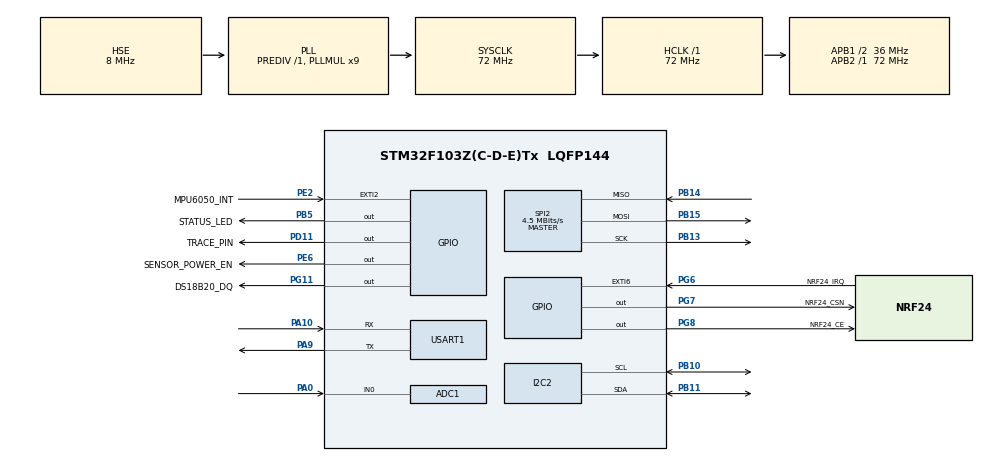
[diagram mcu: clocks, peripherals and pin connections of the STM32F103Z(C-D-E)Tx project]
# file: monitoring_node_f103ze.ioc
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ADC1.Channel-0\#ChannelRegularConversion=ADC_CHANNEL_0
ADC1.ExternalTrigConv=ADC_EXTERNALTRIGCONV_T3_TRGO
ADC1.NbrOfConversionFlag=1
ADC1.Rank-0\#ChannelRegularConversion=1
ADC1.SamplingTime-0\#ChannelRegularConversion=ADC_SAMPLETIME_28CYCLES_5
ADC1.master=1
Dma.ADC1.0.Direction=DMA_PERIPH_TO_MEMORY
Dma.ADC1.0.Instance=DMA1_Channel1
Dma.ADC1.0.MemDataAlignment=DMA_MDATAALIGN_HALFWORD
Dma.ADC1.0.MemInc=DMA_MINC_ENABLE
Dma.ADC1.0.Mode=DMA_CIRCULAR
Dma.ADC1.0.PeriphDataAlignment=DMA_PDATAALIGN_HALFWORD
Dma.ADC1.0.PeriphInc=DMA_PINC_DISABLE
Dma.ADC1.0.Priority=DMA_PRIORITY_HIGH
Dma.Request0=ADC1
FREERTOS.Tasks01=defaultTask,24,256,StartDefaultTask,Default,NULL,Dynamic,NULL,NULL
I2C2.I2C_Mode=I2C_Fast
Mcu.Family=STM32F1
Mcu.Name=STM32F103Z(C-D-E)Tx
Mcu.Package=LQFP144
NVIC.DMA1_Channel1_IRQn=true\:6\:0\:true\:false\:true\:true\:true\:true\:true
NVIC.EXTI2_IRQn=true\:6\:0\:true\:false\:true\:true\:true\:true\:true
NVIC.EXTI9_5_IRQn=true\:6\:0\:true\:false\:true\:true\:true\:true\:true
NVIC.I2C2_ER_IRQn=true\:6\:0\:true\:false\:true\:true\:true\:true\:true
NVIC.I2C2_EV_IRQn=true\:6\:0\:true\:false\:true\:true\:true\:true\:true
NVIC.PriorityGroup=NVIC_PRIORITYGROUP_4
NVIC.RTC_Alarm_IRQn=true\:15\:0\:true\:false\:true\:true\:true\:true\:true
NVIC.TIM4_IRQn=true\:15\:0\:false\:false\:true\:false\:false\:true\:true
NVIC.TimeBase=TIM4_IRQn
NVIC.TimeBaseIP=TIM4
OSC_IN.Mode=HSE-External-Oscillator
OSC_IN.Signal=RCC_OSC_IN
OSC_OUT.Mode=HSE-External-Oscillator
OSC_OUT.Signal=RCC_OSC_OUT
PA0-WKUP.Signal=ADCx_IN0
PA10.Mode=Asynchronous
PA10.Signal=USART1_RX
PA13.Mode=JTAG_4_pins
PA13.Signal=SYS_JTMS-SWDIO
PA14.Mode=JTAG_4_pins
PA14.Signal=SYS_JTCK-SWCLK
PA15.Mode=JTAG_4_pins
PA15.Signal=SYS_JTDI
PA9.Mode=Asynchronous
PA9.Signal=USART1_TX
PB10.Mode=I2C
PB10.Signal=I2C2_SCL
PB11.Mode=I2C
PB11.Signal=I2C2_SDA
PB13.Mode=Full_Duplex_Master
PB13.Signal=SPI2_SCK
PB14.Mode=Full_Duplex_Master
PB14.Signal=SPI2_MISO
PB15.Mode=Full_Duplex_Master
PB15.Signal=SPI2_MOSI
PB3.Mode=JTAG_4_pins
PB3.Signal=SYS_JTDO-TRACESWO
PB5.GPIO_Label=STATUS_LED
PB5.PinState=GPIO_PIN_SET
PB5.Signal=GPIO_Output
PC14-OSC32_IN.Mode=LSE-External-Oscillator
PC14-OSC32_IN.Signal=RCC_OSC32_IN
PC15-OSC32_OUT.Mode=LSE-External-Oscillator
PC15-OSC32_OUT.Signal=RCC_OSC32_OUT
PD11.GPIO_Label=TRACE_PIN
PD11.Signal=GPIO_Output
PE2.GPIO_Label=MPU6050_INT
PE2.GPIO_ModeDefaultEXTI=GPIO_MODE_IT_RISING
PE2.Signal=GPXTI2
PE6.GPIO_Label=SENSOR_POWER_EN
PE6.GPIO_ModeDefaultOutputPP=GPIO_MODE_OUTPUT_PP
PE6.PinState=GPIO_PIN_SET
PE6.Signal=GPIO_Output
PG11.GPIO_Label=DS18B20_DQ
PG11.GPIO_ModeDefaultOutputPP=GPIO_MODE_OUTPUT_OD
PG11.GPIO_PuPd=GPIO_PULLUP
PG11.GPIO_Speed=GPIO_SPEED_FREQ_HIGH
PG11.PinState=GPIO_PIN_SET
PG11.Signal=GPIO_Output
PG6.GPIO_Label=NRF24_IRQ
PG6.GPIO_ModeDefaultEXTI=GPIO_MODE_IT_FALLING
PG6.GPIO_PuPd=GPIO_PULLUP
PG6.Signal=GPXTI6
PG7.GPIO_Label=NRF24_CSN
PG7.GPIO_PuPd=GPIO_PULLUP
PG7.GPIO_Speed=GPIO_SPEED_FREQ_HIGH
PG7.PinState=GPIO_PIN_SET
PG7.Signal=GPIO_Output
PG8.GPIO_Label=NRF24_CE
PG8.GPIO_PuPd=GPIO_PULLUP
PG8.GPIO_Speed=GPIO_SPEED_FREQ_HIGH
PG8.PinState=GPIO_PIN_RESET
PG8.Signal=GPIO_Output
ProjectManager.HeapSize=0x200
ProjectManager.StackSize=0x400
ProjectManager.TargetToolchain=STM32CubeIDE
RCC.ADCPresc=RCC_ADCPCLK2_DIV6
RCC.AHBFreq_Value=72000000
RCC.APB1CLKDivider=RCC_HCLK_DIV2
RCC.APB1Freq_Value=36000000
RCC.APB1TimFreq_Value=72000000
RCC.APB2Freq_Value=72000000
RCC.APB2TimFreq_Value=72000000
RCC.HCLKFreq_Value=72000000
RCC.PLLMUL=RCC_PLL_MUL9
RCC.PLLSourceVirtual=RCC_PLLSOURCE_HSE
RCC.RTCClockSelection=RCC_RTCCLKSOURCE_LSE
RCC.SYSCLKFreq_VALUE=72000000
RCC.SYSCLKSource=RCC_SYSCLKSOURCE_PLLCLK
RCC.USBFreq_Value=72000000
RTC.Seconds=10
SH.ADCx_IN0.0=ADC1_IN0,IN0
SPI2.BaudRatePrescaler=SPI_BAUDRATEPRESCALER_8
SPI2.CalculateBaudRate=4.5 MBits/s
SPI2.Direction=SPI_DIRECTION_2LINES
SPI2.Mode=SPI_MODE_MASTER
SPI2.VirtualType=VM_MASTER
TIM3.AutoReloadPreload=TIM_AUTORELOAD_PRELOAD_DISABLE
TIM3.ClockDivision=TIM_CLOCKDIVISION_DIV1
TIM3.CounterMode=TIM_COUNTERMODE_UP
TIM3.MasterOutputTrigger=TIM_TRGO_UPDATE
TIM3.MasterSlaveMode=TIM_MASTERSLAVEMODE_DISABLE
TIM3.Period=44999
TIM3.Prescaler=0
TIM3.TIM_MasterOutputTrigger=TIM_TRGO_UPDATE
USART1.VirtualMode=VM_ASYNC
VP_FREERTOS_VS_CMSIS_V2.Mode=CMSIS_V2
VP_RTC_VS_RTC_Activate.Mode=RTC_Enabled
VP_RTC_VS_RTC_Calendar.Mode=RTC_Calendar
VP_SYS_VS_tim4.Mode=TIM4
VP_TIM3_VS_ClockSourceINT.Mode=Internal
board=custom

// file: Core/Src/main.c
/* USER CODE BEGIN Header */
/**
  ******************************************************************************
  * @file           : main.c
  * @brief          : Main program body
  ******************************************************************************
  * @attention
  *
  * Copyright (c) 2026 STMicroelectronics.
  * All rights reserved.
  *
  * This software is licensed under terms that can be found in the LICENSE file
  * in the root directory of this software component.
  * If no LICENSE file comes with this software, it is provided AS-IS.
  *
  ******************************************************************************
  */
/* USER CODE END Header */
#include "main.h"
#include "cmsis_os.h"
#include "adc.h"
#include "dma.h"
#include "i2c.h"
#include "rtc.h"
#include "spi.h"
#include "tim.h"
#include "usart.h"
#include "gpio.h"

/* USER CODE BEGIN Includes */
#include "monitoring_tasks.h"
#include "monitoring_ds18b20.h"
#include <stdio.h>
#include <stdarg.h>
/* USER CODE END Includes */

/* USER CODE BEGIN PD */
#define M2_DS18B20_TEST_MODE 0U
#define UART_LOG_BUFFER_SIZE 256U

/* USER CODE END PD */

/* USER CODE BEGIN PV */
static const uint8_t start_msg[] = "监测节点：启动\r\n";

/* USER CODE END PV */

void SystemClock_Config(void);
void MX_FREERTOS_Init(void);
/* USER CODE BEGIN PFP */
void UART_Log(const char *fmt, ...);
/* USER CODE END PFP */

/* USER CODE BEGIN 0 */

/* USART1 阻塞打印。只用于启动日志和低速诊断，不进热路径。 */
void UART_Log(const char *fmt, ...)
{
  char buf[UART_LOG_BUFFER_SIZE];
  va_list ap;
  int len;

  va_start(ap, fmt);
  len = vsnprintf(buf, sizeof(buf), fmt, ap);
  va_end(ap);

  if (len > 0)
  {
    if (len > (int)sizeof(buf) - 1)
    {
      len = (int)sizeof(buf) - 1;       /* vsnprintf 截断时返回的是期望长度 */
    }
    HAL_UART_Transmit(&huart1, (uint8_t *)buf, (uint16_t)len, 100U);
  }
}

#if M2_DS18B20_TEST_MODE
/* M2：DS18B20 最小板级验证。先读 ROM，再读取一次温度。 */
static const char *DS18B20_StatusText(ds18b20_status_t status)
{
  switch (status)
  {
    case DS18B20_OK:                 return "正常";
    case DS18B20_ERROR_NOT_PRESENT:  return "未连接";
    case DS18B20_ERROR_CRC:          return "CRC错误";
    case DS18B20_ERROR_INVALID_DATA: return "数据无效";
    case DS18B20_ERROR_TIMEOUT:      return "超时";
    default:                         return "未知";
  }
}

static void DS18B20_LogTemperature(int16_t raw)
{
  int32_t centi_celsius = ((int32_t)raw * 100) / 16;
  int32_t absolute_centi = (centi_celsius < 0) ? -centi_celsius : centi_celsius;

  UART_Log("[M2] 温度：%s%ld.%02ld ℃，原始值=%d\r\n",
           (centi_celsius < 0) ? "-" : "",
           absolute_centi / 100,
           absolute_centi % 100,
           raw);
}

static void DS18B20_TestOnce(void)
{
  static uint8_t rom_reported = 0U;
  ds18b20_status_t status;
  ds18b20_rom_t rom;
  int16_t temperature_raw;

  if (rom_reported == 0U)
  {
    status = DS18B20_ReadROM(&rom);
    if (status == DS18B20_OK)
    {
      UART_Log("[M2] ROM：%02X-%02X%02X%02X%02X%02X%02X-%02X\r\n",
               rom.family_code,
               rom.serial_number[0], rom.serial_number[1],
               rom.serial_number[2], rom.serial_number[3],
               rom.serial_number[4], rom.serial_number[5],
               rom.crc);
      rom_reported = 1U;
    }
    else
    {
      UART_Log("[M2] ROM 读取失败：%s\r\n", DS18B20_StatusText(status));
      /* ROM 都未读到时，不再把全 0 暂存器误报为 0.00 C。 */
      return;
    }
  }

  status = DS18B20_ReadTemperature(&temperature_raw);
  if (status == DS18B20_OK)
  {
    DS18B20_LogTemperature(temperature_raw);
  }
  else
  {
    UART_Log("[M2] 温度读取失败：%s\r\n", DS18B20_StatusText(status));
  }
}
#endif

/* 设置下一次 RTC 闹钟：当前时间 + interval_sec。
   用 BIN 格式读时间、BIN 格式设闹钟，规避 BCD 的秒进位问题。 */
HAL_StatusTypeDef RTC_SetNextAlarm(uint32_t interval_sec)
{
  uint32_t current_counter;
  uint32_t alarm_counter;

  if (interval_sec == 0U)
  {
    return HAL_ERROR;
  }

  current_counter = RTC_GetCounter();

  /* 处理 32 位计数器溢出：使用模运算确保正确环绕 */
  alarm_counter = current_counter + interval_sec;

  /* 如果溢出（alarm < current），RTC 硬件会在计数器环绕后触发 */
  return RTC_SetAlarmCounter(alarm_counter);
}

/* RTC 闹钟中断回调。中断上下文：只置标志，不做任何阻塞或浮点。 */
void HAL_RTC_AlarmAEventCallback(RTC_HandleTypeDef *hrtc)
{
  (void)hrtc;
  if (g_monitor_cycle_event != NULL)
  {
    (void)osEventFlagsSet(g_monitor_cycle_event, MONITOR_EVENT_RTC_ALARM);
  }
}

/* USER CODE END 0 */

int main(void)
{

  /* MCU Configuration--------------------------------------------------------*/

  /* Reset of all peripherals, Initializes the Flash interface and the Systick. */
  HAL_Init();

  /* Configure the system clock */
  SystemClock_Config();

  /* Initialize all configured peripherals */
  MX_GPIO_Init();
  MX_DMA_Init();
  MX_USART1_UART_Init();
  MX_RTC_Init();
  MX_ADC1_Init();
  MX_TIM3_Init();
  MX_SPI2_Init();
  MX_I2C2_Init();
  /* USER CODE BEGIN 2 */
  HAL_UART_Transmit(&huart1, (uint8_t *)start_msg, sizeof(start_msg) - 1U, 100U);

#if M2_DS18B20_TEST_MODE
  UART_Log("[M2] DS18B20 测试开始，DQ=PG11\r\n");
  UART_Log("[M2] DQ 空闲状态：%s\r\n",
           HAL_GPIO_ReadPin(DS18B20_DQ_GPIO_Port, DS18B20_DQ_Pin) == GPIO_PIN_SET ? "高" : "低");
  DS18B20_TestOnce();
#else
  /* FreeRTOS 周期任务接管 RTC 事件，并在每次上报完成后进入 Stop。 */
  UART_Log("[BOOT] RTC 时钟源：%s\r\n",
           (rtc_clk_source == RTC_CLK_LSE) ? "LSE" :
           (rtc_clk_source == RTC_CLK_LSI) ? "LSI（LSE 失败）" : "无");
  UART_Log("[BOOT] 启动类型：%s\r\n",
           rtc_cold_boot ? "冷启动（时间重置）" : "热启动（时间保留）");
  UART_Log("[BOOT] RTC 计数器：%lu\r\n",
           (unsigned long)RTC_GetCounter());
#endif
  /* USER CODE END 2 */

  /* Init scheduler */
  osKernelInitialize();  /* Call init function for freertos objects (in cmsis_os2.c) */
  MX_FREERTOS_Init();

  /* Start scheduler */
  osKernelStart();

  /* We should never get here as control is now taken by the scheduler */

  /* Infinite loop */
  while (1)
  {

  }
}

void SystemClock_Config(void)
{
  RCC_OscInitTypeDef RCC_OscInitStruct = {0};
  RCC_ClkInitTypeDef RCC_ClkInitStruct = {0};
  RCC_PeriphCLKInitTypeDef PeriphClkInit = {0};

  /** Initializes the RCC Oscillators according to the specified parameters
  * in the RCC_OscInitTypeDef structure.
  */
  RCC_OscInitStruct.OscillatorType = RCC_OSCILLATORTYPE_HSE|RCC_OSCILLATORTYPE_LSE;
  RCC_OscInitStruct.HSEState = RCC_HSE_ON;
  RCC_OscInitStruct.HSEPredivValue = RCC_HSE_PREDIV_DIV1;
  RCC_OscInitStruct.LSEState = RCC_LSE_ON;
  RCC_OscInitStruct.HSIState = RCC_HSI_ON;
  RCC_OscInitStruct.PLL.PLLState = RCC_PLL_ON;
  RCC_OscInitStruct.PLL.PLLSource = RCC_PLLSOURCE_HSE;
  RCC_OscInitStruct.PLL.PLLMUL = RCC_PLL_MUL9;
  if (HAL_RCC_OscConfig(&RCC_OscInitStruct) != HAL_OK)
  {
    Error_Handler();
  }

  /** Initializes the CPU, AHB and APB buses clocks
  */
  RCC_ClkInitStruct.ClockType = RCC_CLOCKTYPE_HCLK|RCC_CLOCKTYPE_SYSCLK
                              |RCC_CLOCKTYPE_PCLK1|RCC_CLOCKTYPE_PCLK2;
  RCC_ClkInitStruct.SYSCLKSource = RCC_SYSCLKSOURCE_PLLCLK;
  RCC_ClkInitStruct.AHBCLKDivider = RCC_SYSCLK_DIV1;
  RCC_ClkInitStruct.APB1CLKDivider = RCC_HCLK_DIV2;
  RCC_ClkInitStruct.APB2CLKDivider = RCC_HCLK_DIV1;

  if (HAL_RCC_ClockConfig(&RCC_ClkInitStruct, FLASH_LATENCY_2) != HAL_OK)
  {
    Error_Handler();
  }
  PeriphClkInit.PeriphClockSelection = RCC_PERIPHCLK_RTC|RCC_PERIPHCLK_ADC;
  PeriphClkInit.RTCClockSelection = RCC_RTCCLKSOURCE_LSE;
  PeriphClkInit.AdcClockSelection = RCC_ADCPCLK2_DIV6;
  if (HAL_RCCEx_PeriphCLKConfig(&PeriphClkInit) != HAL_OK)
  {
    Error_Handler();
  }
}

void HAL_TIM_PeriodElapsedCallback(TIM_HandleTypeDef *htim)
{
  if (htim->Instance == TIM4)
  {
    HAL_IncTick();
  }
}

void Error_Handler(void)
{
  __disable_irq();
  while (1)
  {
  }
}

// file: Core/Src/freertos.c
/* USER CODE BEGIN Header */
/**
  ******************************************************************************
  * File Name          : freertos.c
  * Description        : Code for freertos applications
  ******************************************************************************
  * @attention
  *
  * Copyright (c) 2026 STMicroelectronics.
  * All rights reserved.
  *
  * This software is licensed under terms that can be found in the LICENSE file
  * in the root directory of this software component.
  * If no LICENSE file comes with this software, it is provided AS-IS.
  *
  ******************************************************************************
  */
/* USER CODE END Header */

#include "FreeRTOS.h"
#include "task.h"
#include "main.h"
#include "cmsis_os.h"

/* USER CODE BEGIN Includes */
#include "monitoring_tasks.h"

/* USER CODE END Includes */

/* Definitions for defaultTask */
osThreadId_t defaultTaskHandle;
const osThreadAttr_t defaultTask_attributes = {
  .name = "defaultTask",
  .stack_size = 256 * 4,
  .priority = (osPriority_t) osPriorityNormal,
};

void StartDefaultTask(void *argument);

void MX_FREERTOS_Init(void); /* (MISRA C 2004 rule 8.1) */

void MX_FREERTOS_Init(void) {

  /* Create the thread(s) */
  /* creation of defaultTask */
  defaultTaskHandle = osThreadNew(StartDefaultTask, NULL, &defaultTask_attributes);

  /* USER CODE BEGIN RTOS_THREADS */
  /* 应用任务、队列、事件组、信号量均由 osXXXNew 从 FreeRTOS 堆动态分配；仅采样块池为静态。 */
  MonitoringTasks_Create();
  /* USER CODE END RTOS_THREADS */

}

void StartDefaultTask(void *argument)
{
  /* USER CODE BEGIN StartDefaultTask */
  /* FreeRTOS 基础心跳：LED0/PB5 低有效，每 500 ms 翻转一次。 */
  HAL_GPIO_WritePin(STATUS_LED_GPIO_Port, STATUS_LED_Pin, GPIO_PIN_SET);

  while(1)
  {
    HAL_GPIO_TogglePin(STATUS_LED_GPIO_Port, STATUS_LED_Pin);
    osDelay(500U);
  }
  /* USER CODE END StartDefaultTask */
}

/* USER CODE BEGIN Application */

/*
 * 任务栈和堆是后续接入传感器、算法时最容易被忽略的资源边界。
 * 这里统一停机，避免继续运行并产生无法解释的串口日志或数据损坏。
 */
void vApplicationStackOverflowHook(TaskHandle_t xTask, char *pcTaskName)
{
  (void)xTask;
  (void)pcTaskName;
  Error_Handler();
}

void vApplicationMallocFailedHook(void)
{
  Error_Handler();
}

/* USER CODE END Application */
